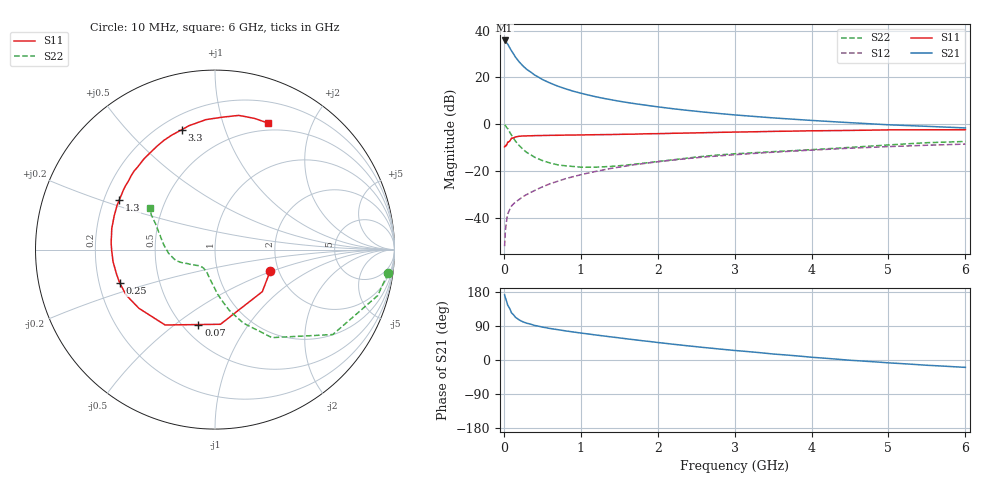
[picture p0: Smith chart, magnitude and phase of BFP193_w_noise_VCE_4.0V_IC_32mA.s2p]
! Infineon Technologies  Discrete & RF Semiconductors
! BFP193
! VCE =  4.0 V,  IC =  32 mA
! Common Emitter S-Parameters:  Jan 2017
# GHz  S  MA  R  50
!  f  S11  S21  S12  S22
! GHz  MAG  ANG  MAG  ANG  MAG  ANG  MAG  ANG
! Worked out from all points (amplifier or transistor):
!   77 points, 10 MHz to 6 GHz, reference 50 ohm
!   highest |S21| = 35.8 dB at 10 MHz (marker M1)
!   |S21| within 3 dB of that: start of sweep to 74.52 MHz
!   unconditionally stable (mu >= 1): 677.8 MHz to 2.51 GHz
!   at 130 MHz: K = 0.51, MSG = 31.8 dB, |S12| = -33.9 dB
!   at 2.2 GHz: K = 1.01, MAG = 10.3 dB, |S12| = -15.3 dB
!   at 6 GHz: K = 0.92, MSG = 3.4 dB, |S12| = -8.5 dB
!   lowest NFmin = 1.24 dB at 450 MHz
!   S11 on the Smith chart (normalised r, x): 10 MHz: 1.80, -0.49; 70 MHz: 0.60, -0.61; 250 MHz: 0.29, -0.16; 1.3 GHz: 0.26, +0.23; 3.3 GHz: 0.28, +0.72; 6 GHz: 0.42, +1.42
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0.01  0.3299 -21.4  61.5 171.9  0.0025 83.6  0.973 -7.8
0.02  0.3527 -41.6  60.59 164.4  0.0052 78.2  0.9419 -15.8
0.05  0.4172 -85.8  51.33 144.7  0.012 65.7  0.809 -35.8
0.07  0.4279 -102.5  44.9 138.1  0.0144 61.3  0.7081 -42.7
0.1  0.5037 -123.5  36.83 124.2  0.018 56.9  0.5839 -57.1
0.15  0.5354 -142.3  27.27 112.9  0.0218 54.4  0.4385 -68.9
0.2  0.5556 -152.7  21.41 105.7  0.0249 57.1  0.3499 -76.6
0.25  0.5627 -160.5  17.5 100.5  0.0287 56.5  0.2902 -81.9
0.3  0.5652 -165.7  14.75 97.0  0.0318 59.0  0.2489 -86.6
0.4  0.5721 -173.3  11.26 91.2  0.0385 61.9  0.198 -93.2
0.5  0.5756 -179.4  9.053 86.9  0.046 63.3  0.1681 -99.2
0.6  0.5801 176.2  7.598 83.2  0.0537 64.2  0.1491 -104.5
0.7  0.582 172.2  6.524 80.1  0.0607 65.1  0.136 -108.8
0.9  0.5885 165.0  5.091 74.0  0.076 65.0  0.1256 -116.9
1.1  0.5949 158.5  4.198 68.6  0.0913 63.9  0.1213 -124.1
1.3  0.6009 152.5  3.565 63.4  0.1065 62.2  0.1238 -130.4
2.1  0.6355 130.6  2.248 44.0  0.1651 53.5  0.1674 -151.6
3.1  0.6847 109.1  1.538 23.5  0.2296 41.2  0.2392 -169.2
3.3  0.6937 105.4  1.45 19.9  0.2412 38.9  0.2494 -172.7
4.1  0.7277 92.5  1.181 5.8  0.2862 29.7  0.2935 172.2
5.1  0.7594 78.6  0.96 -8.7  0.3379 18.2  0.3702 155.3
6  0.7641 67.3  0.835 -19.5  0.3776 8.2  0.4298 147.2
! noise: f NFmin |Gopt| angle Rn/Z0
0.45  1.24  0.35  -173  0.08
0.9  1.3  0.39  -171  0.07
1.9  1.92  0.58  -136  0.17
2.4  2.25  0.62  -121  0.38
